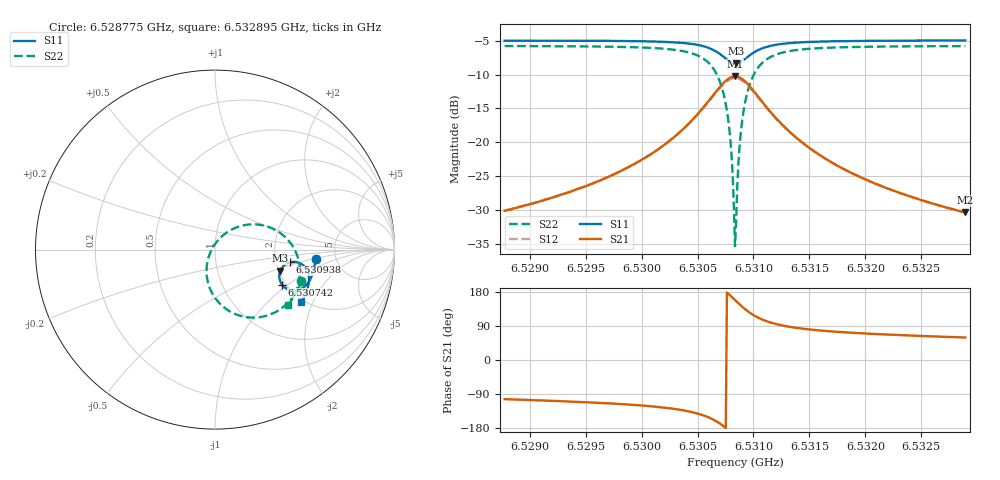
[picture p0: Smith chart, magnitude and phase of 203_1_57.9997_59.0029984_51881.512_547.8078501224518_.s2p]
#  HZ  S  RI  R  50.00
! Rohde & Schwarz Vector Network Analyzer
! Rohde-Schwarz,ZNB20-2Port,1311601062101988,3.16
! Created: UTC 3/21/2024, 12:59:19 AM
! freq[Hz]  re:S11  im:S11  re:S21  im:S21  re:S12  im:S12  re:S22  im:S22
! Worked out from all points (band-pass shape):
!   401 points, 6.528775 GHz to 6.532895 GHz, reference 50 ohm
!   highest |S21| = -10.27 dB at 6.530835 GHz (marker M1); lowest = -30.4 dB at 6.532895 GHz (marker M2)
!   |S21| within 3 dB of the highest: 6.530629 GHz to 6.531042 GHz (412.6 kHz wide, 0.00632 % of centre)
!   lowest |S11| = -8.3 dB at 6.530845 GHz (marker M3), VSWR 2.24, Z = 102 - j28.2 ohm
!   |S11| at or under -10 dB: nowhere
!   |S22| runs from -35.4 to -5.8 dB; largest |S21 - S12| = 0.012
!   S11 on the Smith chart (normalised r, x): 6.528775 GHz: 3.49, -0.51; 6.530742 GHz: 1.91, -0.91; 6.530938 GHz: 2.37, -0.41; 6.532895 GHz: 1.92, -1.66
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6.5287749e9  0.5604 -0.0497  -0.0072 -0.0304  -0.00784 -0.0301  0.4817 -0.1776
6.5294649e9  0.5512 -0.1075  -0.0166 -0.0432  -0.0176 -0.0429  0.4497 -0.2412
6.530155e9  0.5241 -0.1767  -0.0503 -0.074  -0.0524 -0.0726  0.3671 -0.3298
6.5303919e9  0.4976 -0.2071  -0.0899 -0.0936  -0.0928 -0.0904  0.286 -0.3687
6.530567e9  0.4541 -0.227  -0.158 -0.1  -0.1605 -0.0934  0.1598 -0.3734
6.53067e9  0.4092 -0.2223  -0.2276 -0.0735  -0.2268 -0.0639  0.0435 -0.3162
6.5307421e9  0.374 -0.1954  -0.2786 -0.0152  -0.2729 -0.00499  -0.0317 -0.208
6.5307833e9  0.3608 -0.1676  -0.2946 0.0378  -0.2857 0.0461  -0.0473 -0.1175
6.5308039e9  0.3583 -0.1513  -0.2951 0.0677  -0.2851 0.0743  -0.0423 -0.0682
6.5308245e9  0.3593 -0.1343  -0.2898 0.0982  -0.2789 0.1029  -0.0276 -0.0196
6.5308348e9  0.3611 -0.1261  -0.2848 0.1129  -0.2738 0.1167  -0.0167 0.00364
6.5308451e9  0.3639 -0.1179  -0.2785 0.1272  -0.2674 0.1299  -0.00347 0.0257
6.5308554e9  0.3676 -0.1102  -0.2706 0.1407  -0.2598 0.1424  0.0118 0.0463
6.530876e9  0.377 -0.0961  -0.2518 0.1648  -0.2414 0.1646  0.0473 0.0818
6.5308863e9  0.3825 -0.0902  -0.2407 0.1749  -0.231 0.1741  0.0671 0.0964
6.5309069e9  0.3951 -0.0804  -0.2173 0.1917  -0.2087 0.1896  0.1088 0.1193
6.5309378e9  0.4155 -0.0712  -0.1808 0.2071  -0.1737 0.2042  0.1723 0.1377
6.5310099e9  0.4584 -0.0706  -0.1054 0.2093  -0.1018 0.2062  0.2986 0.1262
6.5311129e9  0.4961 -0.0922  -0.0407 0.1784  -0.0388 0.1768  0.4028 0.0582
6.5315249e9  0.524 -0.1715  0.0154 0.0863  0.0165 0.086  0.473 -0.1347
6.5322149e9  0.5067 -0.2429  0.0177 0.0415  0.0184 0.0412  0.4434 -0.2505
6.5328947e9  0.4815 -0.2946  0.0153 0.0261  0.0159 0.0258  0.4083 -0.3103
